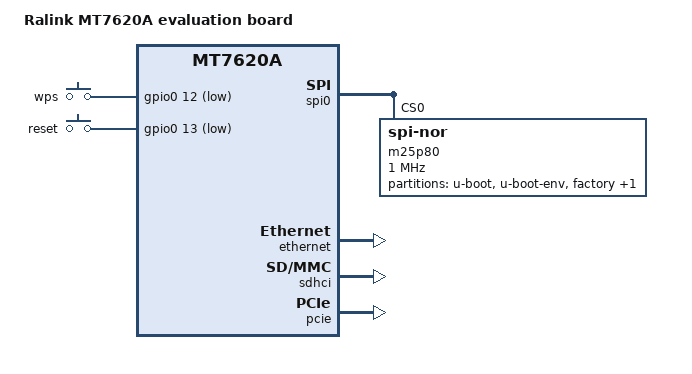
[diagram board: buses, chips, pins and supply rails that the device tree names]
/dts-v1/;

#include "mt7620a.dtsi"

/ {
	compatible = "ralink,mt7620a-eval-board", "ralink,mt7620a-soc";
	model = "Ralink MT7620A evaluation board";

	gpio-keys-polled {
		compatible = "gpio-keys";
		#address-cells = <1>;
		#size-cells = <0>;
		poll-interval = <20>;

		wps {
			label = "wps";
			gpios = <&gpio0 12 1>;
			linux,code = <0x100>;
		};

		reset {
			label = "reset";
			gpios = <&gpio0 13 1>;
			linux,code = <0x101>;
		};
	};
};

&gpio0 {
	status = "okay";
};

&spi0 {
	status = "okay";

	m25p80@0 {
		#address-cells = <1>;
		#size-cells = <1>;
		compatible = "jedec,spi-nor";
		reg = <0>;
		linux,modalias = "m25p80", "en25q64";
		spi-max-frequency = <1000000>;

		partition@0 {
			label = "u-boot";
			reg = <0x0 0x30000>;
			read-only;
		};

		partition@30000 {
			label = "u-boot-env";
			reg = <0x30000 0x10000>;
			read-only;
		};

		factory: partition@40000 {
			label = "factory";
			reg = <0x40000 0x10000>;
			read-only;
		};

		partition@50000 {
			label = "firmware";
			reg = <0x50000 0x7b0000>;
		};
	};
};

&ethernet {
	status = "okay";
	pinctrl-names = "default";
	pinctrl-0 = <&ephy_pins>;
	mediatek,portmap = "llllw";
};

&gsw {
	mediatek,port4 = "ephy";
};

&sdhci {
	status = "okay";
};

&pcie {
	status = "okay";
};
